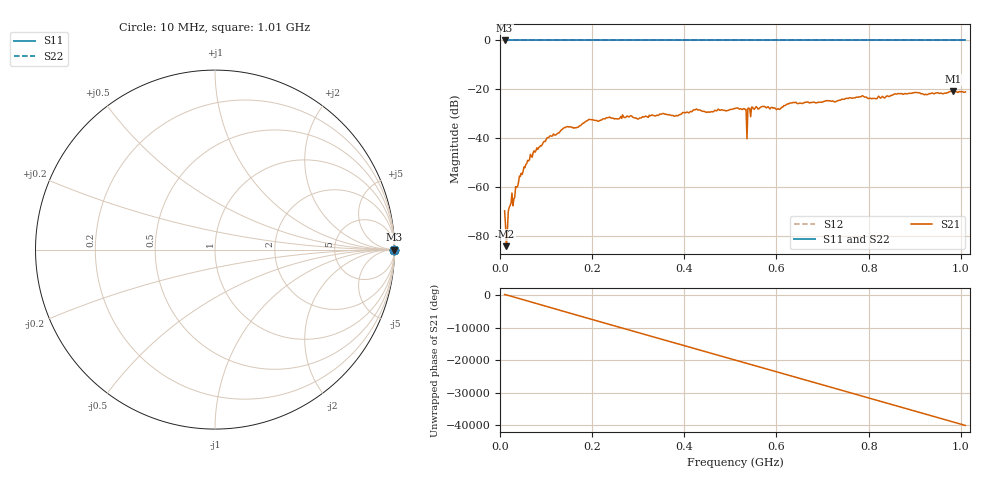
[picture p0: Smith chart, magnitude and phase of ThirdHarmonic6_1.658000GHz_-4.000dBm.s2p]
! 8/16/2025 7:51:30 PM
! C:\ANRITSUVNA\TEMP\TEMP.S2P
! CHANNEL.1
! TR.MEASUREMENT
! RAW.DATA
! RF.CORRECTION.OFF
! AVERAGING.OFF
! IF.BANDWIDTH: 5KHZ
! SWEEPTYPE:  FREQ.SWEEP(Linear)
! Reference Plane Port Info
! PORT:  PORT1  PORT2
! DISTANCE:  0  m  0  m
! TIME:  0  s  0  s
! PHASE.OFFSET:  0  deg.  0  deg.
! LOSS:  0  dB  0  dB
! REF.LOSS:  0  dB  0  dB
! REF.FREQ:  0  Hz  0  Hz
! Power Info
! POWER:  -20  dBm  -20  dBm
! EFF.POWER:  -20  dBm  -20  dBm
! SOURCE.ATTEN:  0  dB  0  dB
! TEST.ATTEN:  0  dB  0  dB
# GHZ S RI R 50.0
! FREQ.GHZ  S11RE  S11IM  S21RE  S21IM  S12RE  S12IM  S22RE  S22IM
!; PortSelection: Port_12
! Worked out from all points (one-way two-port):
!   501 points, 10 MHz to 1.01 GHz, reference 50 ohm
!   highest |S21| = -20.82 dB at 984 MHz (marker M1); lowest = -84.1 dB at 14 MHz (marker M2)
!   lowest |S11| = 0.0 dB at 10 MHz (marker M3)
!   |S11| at or under -10 dB: nowhere
!   |S22| runs from 0.0 to 0.0 dB; largest |S21 - S12| = 1.1
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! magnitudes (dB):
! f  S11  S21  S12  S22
! 10 MHz  0.0  -69.7  0.0  0.0
! 14 MHz  0.0  -84.1  0.0  0.0
! 18 MHz  0.0  -69.8  0.0  0.0
! 22 MHz  0.0  -67.5  0.0  0.0
! 32 MHz  0.0  -64.1  0.0  0.0
! 38 MHz  0.0  -59.8  0.0  0.0
! 70 MHz  0.0  -47.7  0.0  0.0
! 106 MHz  0.0  -39.6  0.0  0.0
! 178 MHz  0.0  -34.2  0.0  0.0
! 196 MHz  0.0  -32.4  0.0  0.0
! 344 MHz  0.0  -30.7  0.0  0.0
! 510 MHz  0.0  -27.8  0.0  0.0
! 530 MHz  0.0  -27.9  0.0  0.0
! 532 MHz  0.0  -28.2  0.0  0.0
! 540 MHz  0.0  -27.7  0.0  0.0
! 542 MHz  0.0  -27.9  0.0  0.0
! 550 MHz  0.0  -27.9  0.0  0.0
! 604 MHz  0.0  -27.9  0.0  0.0
! 678 MHz  0.0  -25.3  0.0  0.0
! 844 MHz  0.0  -22.9  0.0  0.0
! 984 MHz  0.0  -20.8  0.0  0.0
! 1.01 GHz  0.0  -21.0  0.0  0.0
